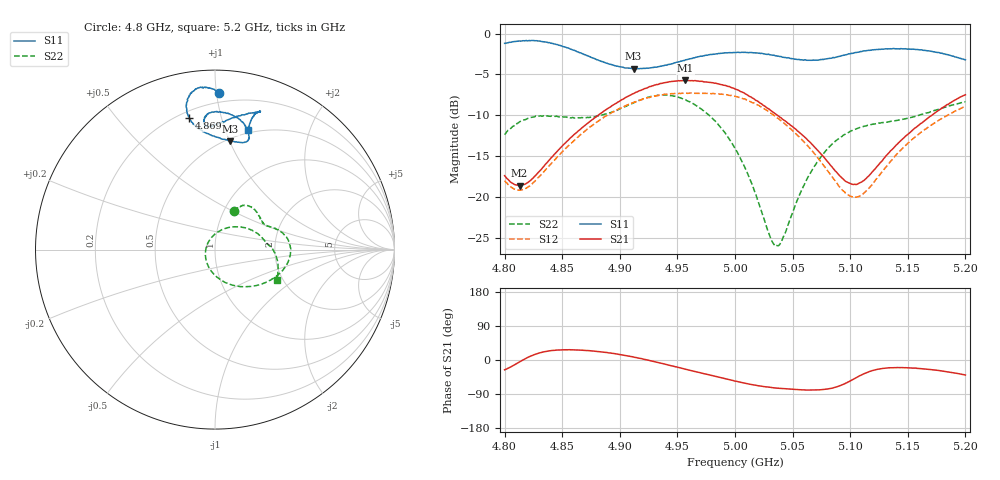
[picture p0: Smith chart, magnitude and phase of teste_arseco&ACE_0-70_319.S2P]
! Network Analyzer HP8722D
! Hewlett-Packard
! Data name: Linha & Wilkinson
! Saver's name: Rodrigo Anjos
! Comments: Teste da utilização de aquisição
! continua pelo VNA HP8722D
! Time and date: 8/5/2025 15:25
!  Frequency  S11  S21  S12  S22
# HZ  S  MA R 50
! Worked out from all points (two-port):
!   401 points, 4.8 GHz to 5.2 GHz, reference 50 ohm
!   highest |S21| = -5.73 dB at 4.957 GHz (marker M1); lowest = -18.6 dB at 4.813 GHz (marker M2)
!   |S21| within 3 dB of the highest: 4.894 GHz to 5.024 GHz (129.9 MHz wide, 2.62 % of centre); 5.183617 GHz to end of sweep
!   lowest |S11| = -4.3 dB at 4.912 GHz (marker M3), VSWR 4.12, Z = 26.2 + j50.3 ohm
!   |S11| at or under -10 dB: nowhere
!   |S22| runs from -26.0 to -7.5 dB; largest |S21 - S12| = 0.89
!   S11 on the Smith chart (normalised r, x): 4.8 GHz: 0.14, +1.02; 4.869 GHz: 0.24, +0.79; 5.2 GHz: 0.47, +1.20
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4.8e9  0.8722 88.4  0.1351 -25.9  0.1258 101.5  0.2409 63.6
4.813e9  0.9024 92.1  0.1174 -5.2  0.1103 119.7  0.2889 58.2
4.823e9  0.9069 94.9  0.1274 10.8  0.119 134.5  0.3073 52.4
4.844e9  0.8627 99.8  0.185 25.8  0.1701 149.9  0.3115 39.9
4.867e9  0.7563 101.3  0.2647 25.9  0.2436 153.1  0.3067 30.1
4.869e9  0.7455 101.1  0.272 25.6  0.2507 153.0  0.305 29.2
4.912e9  0.6097 81.9  0.4298 7.7  0.3792 140.8  0.3778 15.8
4.934e9  0.629 73.6  0.491 -7.1  0.4198 128.7  0.4191 2.1
4.957e9  0.6913 74.8  0.517 -24.3  0.4317 114.2  0.3945 -17.2
4.981e9  0.748 81.0  0.5004 -41.5  0.43 99.1  0.2995 -42.4
5e9  0.7666 87.4  0.4586 -55.7  0.4139 85.6  0.1984 -70.2
5.018e9  0.7615 92.2  0.3908 -66.6  0.3707 73.5  0.1042 -109.5
5.03e9  0.7434 94.2  0.3438 -72.1  0.33 66.7  0.05834 -156.8
5.036e9  0.7308 94.6  0.3197 -74.1  0.3067 63.9  0.05054 165.2
5.041e9  0.7176 95.0  0.3005 -75.3  0.2896 62.0  0.05472 134.3
5.067e9  0.687 92.6  0.2103 -79.2  0.1914 57.9  0.1466 57.5
5.083e9  0.7072 87.5  0.1561 -75.1  0.1366 63.8  0.2064 36.3
5.103e9  0.7614 79.0  0.1194 -50.4  0.09966 91.8  0.2576 19.0
5.114e9  0.7868 75.4  0.1301 -33.7  0.1091 111.0  0.2728 13.2
5.134e9  0.8069 72.0  0.1876 -20.5  0.162 125.7  0.2892 7.1
5.169e9  0.783 73.7  0.3104 -25.0  0.2719 120.4  0.3305 -2.4
5.2e9  0.6908 74.5  0.4227 -39.7  0.3587 108.3  0.3831 -26.3
